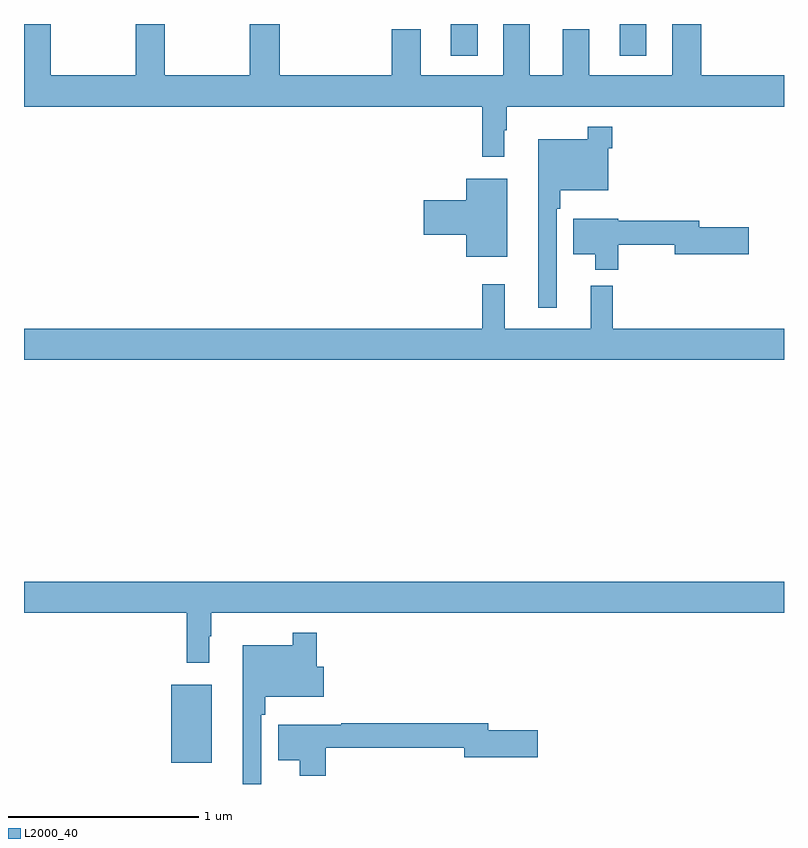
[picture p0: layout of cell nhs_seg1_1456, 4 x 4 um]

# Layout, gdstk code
import gdstk
lib = gdstk.Library(unit=1e-6, precision=1e-09)
def R(c, l, rs):  # rectangles x0, y0, x1, y1
    for r in rs: c.add(gdstk.rectangle(r[:2], r[2:], *l))
def P(c, l, *ps):  # polygons
    for p in ps: c.add(gdstk.Polygon(p, *l))
L2000_40 = (2000, 40)

nhs_seg1_1456 = lib.new_cell('nhs_seg1_1456')
R(nhs_seg1_1456, L2000_40, [(191.774,516.311,191.989,516.721), (193.247,520.032,193.387,520.199), (194.135,520.032,194.275,520.199)])
P(nhs_seg1_1456, L2000_40, [(193.528,519.641),(193.54,519.641),(193.54,519.764),(195,519.764),(195,519.928),(194.564,519.928),(194.564,520.199),(194.411,520.199),(194.411,519.928),(193.975,519.928),(193.975,520.171),(193.835,520.171),(193.835,519.928),(193.663,519.928),(193.663,520.199),(193.523,520.199),(193.523,519.928),(193.087,519.928),(193.087,520.171),(192.935,520.171),(192.935,519.928),(192.347,519.928),(192.347,520.199),(192.187,520.199),(192.187,519.928),(191.742,519.928),(191.742,520.199),(191.587,520.199),(191.587,519.928),(191.142,519.928),(191.142,520.199),(191,520.199),(191,519.764),(193.411,519.764),(193.411,519.501),(193.528,519.501)],
  [(193.803,519.227),(193.823,519.227),(193.823,519.323),(194.076,519.323),(194.076,519.545),(194.096,519.545),(194.096,519.658),(193.968,519.658),(193.968,519.592),(193.706,519.592),(193.706,518.706),(193.803,518.706)],
  [(193.543,519.385),(193.328,519.385),(193.328,519.272),(193.104,519.272),(193.104,519.089),(193.328,519.089),(193.328,518.975),(193.543,518.975)],
  [(194.128,519.036),(194.426,519.036),(194.426,518.986),(194.815,518.986),(194.815,519.128),(194.554,519.128),(194.554,519.164),(194.128,519.164),(194.128,519.175),(193.892,519.175),(193.892,518.987),(194.006,518.987),(194.006,518.906),(194.128,518.906)],
  [(195,518.596),(194.099,518.596),(194.099,518.821),(193.982,518.821),(193.982,518.596),(193.529,518.596),(193.529,518.83),(193.411,518.83),(193.411,518.596),(191,518.596),(191,518.432),(195,518.432)],
  [(191.974,516.977),(191.986,516.977),(191.986,517.1),(195,517.1),(195,517.264),(191,517.264),(191,517.1),(191.857,517.1),(191.857,516.837),(191.974,516.837)],
  [(192.249,516.563),(192.269,516.563),(192.269,516.659),(192.577,516.659),(192.577,516.817),(192.542,516.817),(192.542,516.994),(192.414,516.994),(192.414,516.928),(192.152,516.928),(192.152,516.199),(192.249,516.199)],
  [(192.587,516.39),(193.316,516.39),(193.316,516.34),(193.705,516.34),(193.705,516.482),(193.444,516.482),(193.444,516.518),(192.67,516.518),(192.67,516.511),(192.338,516.511),(192.338,516.323),(192.452,516.323),(192.452,516.242),(192.587,516.242)])

lib.write_gds('nhs_seg1_1456.gds')
